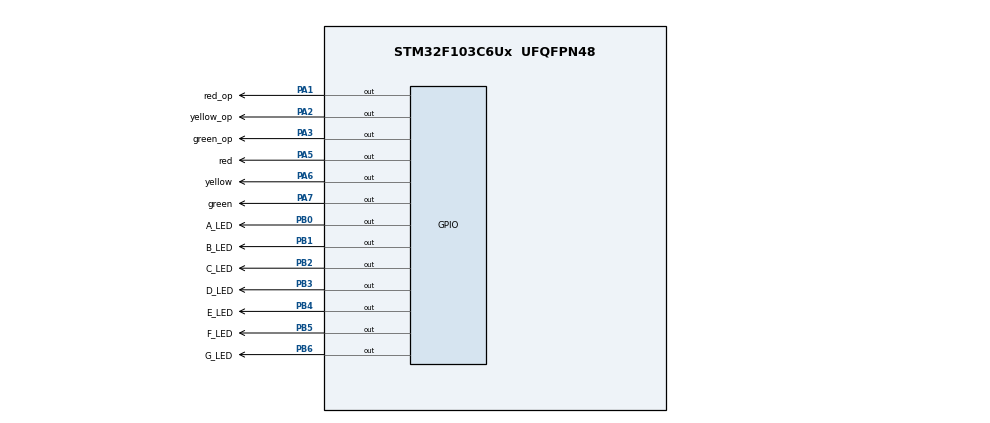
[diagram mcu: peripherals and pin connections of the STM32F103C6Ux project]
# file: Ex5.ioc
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Mcu.Family=STM32F1
Mcu.Name=STM32F103C6Ux
Mcu.Package=UFQFPN48
NVIC.PriorityGroup=NVIC_PRIORITYGROUP_4
PA1.GPIO_Label=red_op
PA1.Signal=GPIO_Output
PA2.GPIO_Label=yellow_op
PA2.Signal=GPIO_Output
PA3.GPIO_Label=green_op
PA3.Signal=GPIO_Output
PA5.GPIO_Label=red
PA5.Signal=GPIO_Output
PA6.GPIO_Label=yellow
PA6.Signal=GPIO_Output
PA7.GPIO_Label=green
PA7.Signal=GPIO_Output
PB0.GPIO_Label=A_LED
PB0.Signal=GPIO_Output
PB1.GPIO_Label=B_LED
PB1.Signal=GPIO_Output
PB2.GPIO_Label=C_LED
PB2.Signal=GPIO_Output
PB3.GPIO_Label=D_LED
PB3.Signal=GPIO_Output
PB4.GPIO_Label=E_LED
PB4.Signal=GPIO_Output
PB5.GPIO_Label=F_LED
PB5.Signal=GPIO_Output
PB6.GPIO_Label=G_LED
PB6.Signal=GPIO_Output
ProjectManager.HeapSize=0x200
ProjectManager.StackSize=0x400
ProjectManager.TargetToolchain=STM32CubeIDE
RCC.APB1Freq_Value=8000000
RCC.APB2Freq_Value=8000000
VP_SYS_VS_ND.Mode=No_Debug
board=custom

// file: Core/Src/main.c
/* USER CODE BEGIN Header */
/**
  ******************************************************************************
  * @file           : main.c
  * @brief          : Main program body
  ******************************************************************************
  * @attention
  *
  * <h2><center>&copy; Copyright (c) 2026 STMicroelectronics.
  * All rights reserved.</center></h2>
  *
  * This software component is licensed by ST under BSD 3-Clause license,
  * the "License"; You may not use this file except in compliance with the
  * License. You may obtain a copy of the License at:
  *                        opensource.org/licenses/BSD-3-Clause
  *
  ******************************************************************************
  */
/* USER CODE END Header */
#include "main.h"

/* USER CODE BEGIN PV */
int counter = 0;
/* USER CODE END PV */

void SystemClock_Config(void);
static void MX_GPIO_Init(void);
/* USER CODE BEGIN PFP */
void display7SEG(int num);
/* USER CODE END PFP */

int main(void)
{

  /* MCU Configuration--------------------------------------------------------*/

  /* Reset of all peripherals, Initializes the Flash interface and the Systick. */
  HAL_Init();

  /* Configure the system clock */
  SystemClock_Config();

  /* Initialize all configured peripherals */
  MX_GPIO_Init();

  /* Infinite loop */
  /* USER CODE BEGIN WHILE */
  /* Infinite loop */
    /* USER CODE BEGIN WHILE */
  /* Infinite loop */

  while (1)
    {

      /* USER CODE BEGIN 3 */

      HAL_GPIO_WritePin(red_GPIO_Port, red_Pin, GPIO_PIN_RESET);
      HAL_GPIO_WritePin(yellow_GPIO_Port, yellow_Pin, GPIO_PIN_SET);
      HAL_GPIO_WritePin(green_GPIO_Port, green_Pin, GPIO_PIN_SET);

      HAL_GPIO_WritePin(red_op_GPIO_Port, red_op_Pin, GPIO_PIN_SET);
      HAL_GPIO_WritePin(yellow_op_GPIO_Port, yellow_op_Pin, GPIO_PIN_SET);
      HAL_GPIO_WritePin(green_op_GPIO_Port, green_op_Pin, GPIO_PIN_RESET);

      display7SEG(5); HAL_Delay(1000);
      display7SEG(4); HAL_Delay(1000);
      display7SEG(3); HAL_Delay(1000);

      HAL_GPIO_WritePin(green_op_GPIO_Port, green_op_Pin, GPIO_PIN_SET);
      HAL_GPIO_WritePin(yellow_op_GPIO_Port, yellow_op_Pin, GPIO_PIN_RESET);

      display7SEG(2); HAL_Delay(1000);
      display7SEG(1); HAL_Delay(1000);

      HAL_GPIO_WritePin(red_GPIO_Port, red_Pin, GPIO_PIN_SET);
      HAL_GPIO_WritePin(green_GPIO_Port, green_Pin, GPIO_PIN_RESET);

      HAL_GPIO_WritePin(yellow_op_GPIO_Port, yellow_op_Pin, GPIO_PIN_SET);
      HAL_GPIO_WritePin(red_op_GPIO_Port, red_op_Pin, GPIO_PIN_RESET);

      display7SEG(3); HAL_Delay(1000);
      display7SEG(2); HAL_Delay(1000);
      display7SEG(1); HAL_Delay(1000);

      HAL_GPIO_WritePin(green_GPIO_Port, green_Pin, GPIO_PIN_SET);
      HAL_GPIO_WritePin(yellow_GPIO_Port, yellow_Pin, GPIO_PIN_RESET);

      display7SEG(2); HAL_Delay(1000);
      display7SEG(1); HAL_Delay(1000);
    }
  /* USER CODE END 3 */
}

void SystemClock_Config(void)
{
  RCC_OscInitTypeDef RCC_OscInitStruct = {0};
  RCC_ClkInitTypeDef RCC_ClkInitStruct = {0};

  /** Initializes the RCC Oscillators according to the specified parameters
  * in the RCC_OscInitTypeDef structure.
  */
  RCC_OscInitStruct.OscillatorType = RCC_OSCILLATORTYPE_HSI;
  RCC_OscInitStruct.HSIState = RCC_HSI_ON;
  RCC_OscInitStruct.HSICalibrationValue = RCC_HSICALIBRATION_DEFAULT;
  RCC_OscInitStruct.PLL.PLLState = RCC_PLL_NONE;
  if (HAL_RCC_OscConfig(&RCC_OscInitStruct) != HAL_OK)
  {
    Error_Handler();
  }
  /** Initializes the CPU, AHB and APB buses clocks
  */
  RCC_ClkInitStruct.ClockType = RCC_CLOCKTYPE_HCLK|RCC_CLOCKTYPE_SYSCLK
                              |RCC_CLOCKTYPE_PCLK1|RCC_CLOCKTYPE_PCLK2;
  RCC_ClkInitStruct.SYSCLKSource = RCC_SYSCLKSOURCE_HSI;
  RCC_ClkInitStruct.AHBCLKDivider = RCC_SYSCLK_DIV1;
  RCC_ClkInitStruct.APB1CLKDivider = RCC_HCLK_DIV1;
  RCC_ClkInitStruct.APB2CLKDivider = RCC_HCLK_DIV1;

  if (HAL_RCC_ClockConfig(&RCC_ClkInitStruct, FLASH_LATENCY_0) != HAL_OK)
  {
    Error_Handler();
  }
}

static void MX_GPIO_Init(void)
{
  GPIO_InitTypeDef GPIO_InitStruct = {0};

  /* GPIO Ports Clock Enable */
  __HAL_RCC_GPIOA_CLK_ENABLE();
  __HAL_RCC_GPIOB_CLK_ENABLE();

  /*Configure GPIO pin Output Level */
  HAL_GPIO_WritePin(GPIOA, red_op_Pin|yellow_op_Pin|green_op_Pin|red_Pin
                          |yellow_Pin|green_Pin, GPIO_PIN_RESET);

  /*Configure GPIO pin Output Level */
  HAL_GPIO_WritePin(GPIOB, A_LED_Pin|B_LED_Pin|C_LED_Pin|D_LED_Pin
                          |E_LED_Pin|F_LED_Pin|G_LED_Pin, GPIO_PIN_RESET);

  /*Configure GPIO pins : red_op_Pin yellow_op_Pin green_op_Pin red_Pin
                           yellow_Pin green_Pin */
  GPIO_InitStruct.Pin = red_op_Pin|yellow_op_Pin|green_op_Pin|red_Pin
                          |yellow_Pin|green_Pin;
  GPIO_InitStruct.Mode = GPIO_MODE_OUTPUT_PP;
  GPIO_InitStruct.Pull = GPIO_NOPULL;
  GPIO_InitStruct.Speed = GPIO_SPEED_FREQ_LOW;
  HAL_GPIO_Init(GPIOA, &GPIO_InitStruct);

  /*Configure GPIO pins : A_LED_Pin B_LED_Pin C_LED_Pin D_LED_Pin
                           E_LED_Pin F_LED_Pin G_LED_Pin */
  GPIO_InitStruct.Pin = A_LED_Pin|B_LED_Pin|C_LED_Pin|D_LED_Pin
                          |E_LED_Pin|F_LED_Pin|G_LED_Pin;
  GPIO_InitStruct.Mode = GPIO_MODE_OUTPUT_PP;
  GPIO_InitStruct.Pull = GPIO_NOPULL;
  GPIO_InitStruct.Speed = GPIO_SPEED_FREQ_LOW;
  HAL_GPIO_Init(GPIOB, &GPIO_InitStruct);

}

/* USER CODE BEGIN 4 */
/* USER CODE BEGIN 4 */
/* USER CODE BEGIN 4 */
void display7SEG(int num) {
    switch (num) {
        case 0:
            HAL_GPIO_WritePin(GPIOB, A_LED_Pin | B_LED_Pin | C_LED_Pin | D_LED_Pin | E_LED_Pin | F_LED_Pin, GPIO_PIN_RESET);
            HAL_GPIO_WritePin(GPIOB, G_LED_Pin, GPIO_PIN_SET);
            break;
        case 1:
            HAL_GPIO_WritePin(GPIOB, B_LED_Pin | C_LED_Pin, GPIO_PIN_RESET);
            HAL_GPIO_WritePin(GPIOB, A_LED_Pin | D_LED_Pin | E_LED_Pin | F_LED_Pin | G_LED_Pin, GPIO_PIN_SET);
            break;
        case 2:
            HAL_GPIO_WritePin(GPIOB, A_LED_Pin | B_LED_Pin | D_LED_Pin | E_LED_Pin | G_LED_Pin, GPIO_PIN_RESET);
            HAL_GPIO_WritePin(GPIOB, C_LED_Pin | F_LED_Pin, GPIO_PIN_SET);
            break;
        case 3:
            HAL_GPIO_WritePin(GPIOB, A_LED_Pin | B_LED_Pin | C_LED_Pin | D_LED_Pin | G_LED_Pin, GPIO_PIN_RESET);
            HAL_GPIO_WritePin(GPIOB, E_LED_Pin | F_LED_Pin, GPIO_PIN_SET);
            break;
        case 4:
            HAL_GPIO_WritePin(GPIOB, B_LED_Pin | C_LED_Pin | F_LED_Pin | G_LED_Pin, GPIO_PIN_RESET);
            HAL_GPIO_WritePin(GPIOB, A_LED_Pin | D_LED_Pin | E_LED_Pin, GPIO_PIN_SET);
            break;
        case 5:
            HAL_GPIO_WritePin(GPIOB, A_LED_Pin | C_LED_Pin | D_LED_Pin | F_LED_Pin | G_LED_Pin, GPIO_PIN_RESET);
            HAL_GPIO_WritePin(GPIOB, B_LED_Pin | E_LED_Pin, GPIO_PIN_SET);
            break;
        default:
            HAL_GPIO_WritePin(GPIOB, A_LED_Pin | B_LED_Pin | C_LED_Pin | D_LED_Pin | E_LED_Pin | F_LED_Pin | G_LED_Pin, GPIO_PIN_SET);
            break;
    }
}
/* USER CODE END 4 */

/* USER CODE END 4 */

void Error_Handler(void)
{
  __disable_irq();
  while (1)
  {
  }
}

/************************ (C) COPYRIGHT STMicroelectronics *****END OF FILE****/
